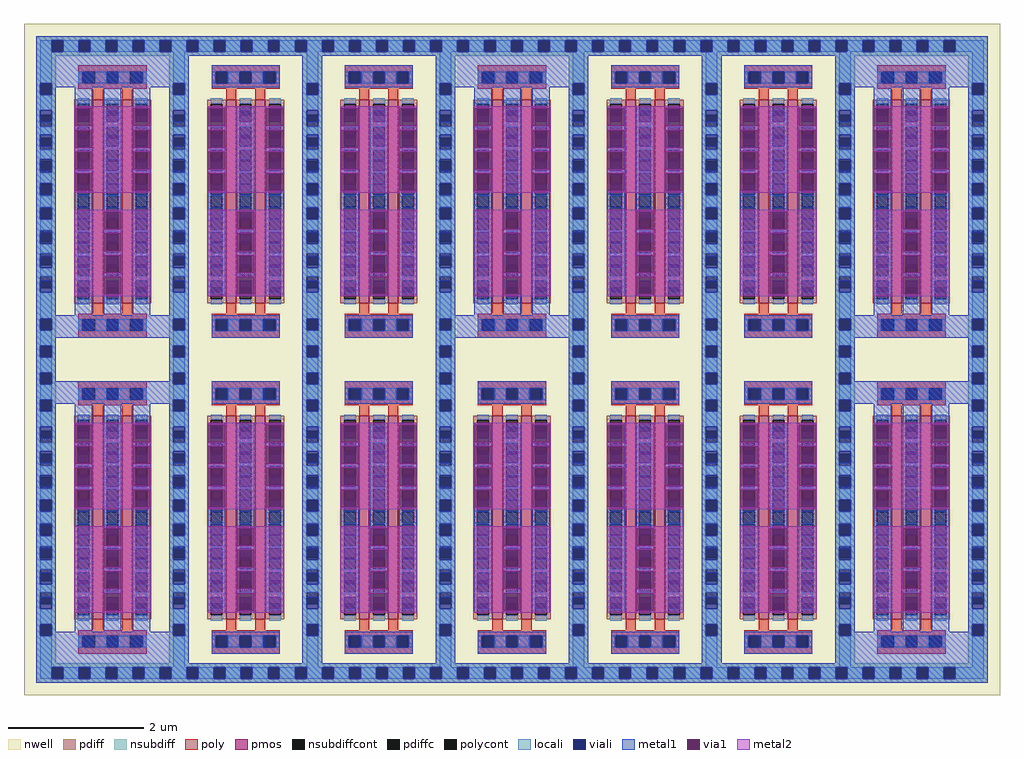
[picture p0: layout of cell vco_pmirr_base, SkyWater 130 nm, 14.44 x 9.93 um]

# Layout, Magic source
magic
tech sky130B
<< nwell >>
rect 65 23 1509 464
rect 65 6 89 23
rect 106 6 286 23
rect 303 6 483 23
rect 500 6 680 23
rect 697 6 877 23
rect 894 6 1074 23
rect 1091 6 1271 23
rect 1288 6 1468 23
rect 1485 6 1509 23
rect 65 -529 1509 6
<< nsubdiff >>
rect 83 440 1491 446
rect 83 423 106 440
rect 123 423 146 440
rect 163 423 186 440
rect 203 423 226 440
rect 243 423 266 440
rect 283 423 306 440
rect 323 423 346 440
rect 363 423 386 440
rect 403 423 426 440
rect 443 423 466 440
rect 483 423 506 440
rect 523 423 546 440
rect 563 423 586 440
rect 603 423 626 440
rect 643 423 666 440
rect 683 423 706 440
rect 723 423 746 440
rect 763 423 786 440
rect 803 423 826 440
rect 843 423 866 440
rect 883 423 906 440
rect 923 423 946 440
rect 963 423 986 440
rect 1003 423 1026 440
rect 1043 423 1066 440
rect 1083 423 1106 440
rect 1123 423 1146 440
rect 1163 423 1186 440
rect 1203 423 1226 440
rect 1243 423 1266 440
rect 1283 423 1306 440
rect 1323 423 1346 440
rect 1363 423 1386 440
rect 1403 423 1426 440
rect 1443 423 1491 440
rect 83 417 1491 423
rect 83 376 112 417
rect 83 359 89 376
rect 106 359 112 376
rect 83 352 112 359
rect 280 376 309 417
rect 280 359 286 376
rect 303 359 309 376
rect 280 352 309 359
rect 477 376 506 417
rect 477 359 483 376
rect 500 359 506 376
rect 477 352 506 359
rect 674 376 703 417
rect 674 359 680 376
rect 697 359 703 376
rect 674 352 703 359
rect 871 376 900 417
rect 871 359 877 376
rect 894 359 900 376
rect 871 352 900 359
rect 1068 376 1097 417
rect 1068 359 1074 376
rect 1091 359 1097 376
rect 1068 352 1097 359
rect 1265 376 1294 417
rect 1265 359 1271 376
rect 1288 359 1294 376
rect 1265 352 1294 359
rect 1462 376 1491 417
rect 1462 359 1468 376
rect 1485 359 1491 376
rect 1462 352 1491 359
rect 83 28 112 51
rect 83 11 89 28
rect 106 11 112 28
rect 83 -12 112 11
rect 83 -29 89 -12
rect 106 -29 112 -12
rect 83 -52 112 -29
rect 83 -69 89 -52
rect 106 -69 112 -52
rect 83 -92 112 -69
rect 83 -109 89 -92
rect 106 -109 112 -92
rect 83 -116 112 -109
rect 280 28 309 51
rect 280 11 286 28
rect 303 11 309 28
rect 280 -12 309 11
rect 280 -29 286 -12
rect 303 -29 309 -12
rect 280 -52 309 -29
rect 280 -69 286 -52
rect 303 -69 309 -52
rect 280 -92 309 -69
rect 280 -109 286 -92
rect 303 -109 309 -92
rect 280 -116 309 -109
rect 477 28 506 51
rect 477 11 483 28
rect 500 11 506 28
rect 477 -12 506 11
rect 477 -29 483 -12
rect 500 -29 506 -12
rect 477 -52 506 -29
rect 477 -69 483 -52
rect 500 -69 506 -52
rect 477 -92 506 -69
rect 477 -109 483 -92
rect 500 -109 506 -92
rect 477 -116 506 -109
rect 674 28 703 51
rect 674 11 680 28
rect 697 11 703 28
rect 674 -12 703 11
rect 674 -29 680 -12
rect 697 -29 703 -12
rect 674 -52 703 -29
rect 674 -69 680 -52
rect 697 -69 703 -52
rect 674 -92 703 -69
rect 674 -109 680 -92
rect 697 -109 703 -92
rect 674 -116 703 -109
rect 871 28 900 51
rect 871 11 877 28
rect 894 11 900 28
rect 871 -12 900 11
rect 871 -29 877 -12
rect 894 -29 900 -12
rect 871 -52 900 -29
rect 871 -69 877 -52
rect 894 -69 900 -52
rect 871 -92 900 -69
rect 871 -109 877 -92
rect 894 -109 900 -92
rect 871 -116 900 -109
rect 1068 28 1097 51
rect 1068 11 1074 28
rect 1091 11 1097 28
rect 1068 -12 1097 11
rect 1068 -29 1074 -12
rect 1091 -29 1097 -12
rect 1068 -52 1097 -29
rect 1068 -69 1074 -52
rect 1091 -69 1097 -52
rect 1068 -92 1097 -69
rect 1068 -109 1074 -92
rect 1091 -109 1097 -92
rect 1068 -116 1097 -109
rect 1265 28 1294 51
rect 1265 11 1271 28
rect 1288 11 1294 28
rect 1265 -12 1294 11
rect 1265 -29 1271 -12
rect 1288 -29 1294 -12
rect 1265 -52 1294 -29
rect 1265 -69 1271 -52
rect 1288 -69 1294 -52
rect 1265 -92 1294 -69
rect 1265 -109 1271 -92
rect 1288 -109 1294 -92
rect 1265 -116 1294 -109
rect 1462 28 1491 51
rect 1462 11 1468 28
rect 1485 11 1491 28
rect 1462 -12 1491 11
rect 1462 -29 1468 -12
rect 1485 -29 1491 -12
rect 1462 -52 1491 -29
rect 1462 -69 1468 -52
rect 1485 -69 1491 -52
rect 1462 -92 1491 -69
rect 1462 -109 1468 -92
rect 1485 -109 1491 -92
rect 1462 -116 1491 -109
rect 83 -424 112 -417
rect 83 -441 89 -424
rect 106 -441 112 -424
rect 83 -482 112 -441
rect 280 -424 309 -417
rect 280 -441 286 -424
rect 303 -441 309 -424
rect 280 -482 309 -441
rect 477 -424 506 -417
rect 477 -441 483 -424
rect 500 -441 506 -424
rect 477 -482 506 -441
rect 674 -424 703 -417
rect 674 -441 680 -424
rect 697 -441 703 -424
rect 674 -482 703 -441
rect 871 -424 900 -417
rect 871 -441 877 -424
rect 894 -441 900 -424
rect 871 -482 900 -441
rect 1068 -424 1097 -417
rect 1068 -441 1074 -424
rect 1091 -441 1097 -424
rect 1068 -482 1097 -441
rect 1265 -424 1294 -417
rect 1265 -441 1271 -424
rect 1288 -441 1294 -424
rect 1265 -482 1294 -441
rect 1462 -424 1491 -417
rect 1462 -441 1468 -424
rect 1485 -441 1491 -424
rect 1462 -482 1491 -441
rect 83 -488 1491 -482
rect 83 -505 106 -488
rect 123 -505 146 -488
rect 163 -505 186 -488
rect 203 -505 226 -488
rect 243 -505 266 -488
rect 283 -505 306 -488
rect 323 -505 346 -488
rect 363 -505 386 -488
rect 403 -505 426 -488
rect 443 -505 466 -488
rect 483 -505 506 -488
rect 523 -505 546 -488
rect 563 -505 586 -488
rect 603 -505 626 -488
rect 643 -505 666 -488
rect 683 -505 706 -488
rect 723 -505 746 -488
rect 763 -505 786 -488
rect 803 -505 826 -488
rect 843 -505 866 -488
rect 883 -505 906 -488
rect 923 -505 946 -488
rect 963 -505 986 -488
rect 1003 -505 1026 -488
rect 1043 -505 1066 -488
rect 1083 -505 1106 -488
rect 1123 -505 1146 -488
rect 1163 -505 1186 -488
rect 1203 -505 1226 -488
rect 1243 -505 1266 -488
rect 1283 -505 1306 -488
rect 1323 -505 1346 -488
rect 1363 -505 1386 -488
rect 1403 -505 1426 -488
rect 1443 -505 1491 -488
rect 83 -511 1491 -505
<< nsubdiffcont >>
rect 106 423 123 440
rect 146 423 163 440
rect 186 423 203 440
rect 226 423 243 440
rect 266 423 283 440
rect 306 423 323 440
rect 346 423 363 440
rect 386 423 403 440
rect 426 423 443 440
rect 466 423 483 440
rect 506 423 523 440
rect 546 423 563 440
rect 586 423 603 440
rect 626 423 643 440
rect 666 423 683 440
rect 706 423 723 440
rect 746 423 763 440
rect 786 423 803 440
rect 826 423 843 440
rect 866 423 883 440
rect 906 423 923 440
rect 946 423 963 440
rect 986 423 1003 440
rect 1026 423 1043 440
rect 1066 423 1083 440
rect 1106 423 1123 440
rect 1146 423 1163 440
rect 1186 423 1203 440
rect 1226 423 1243 440
rect 1266 423 1283 440
rect 1306 423 1323 440
rect 1346 423 1363 440
rect 1386 423 1403 440
rect 1426 423 1443 440
rect 89 359 106 376
rect 286 359 303 376
rect 483 359 500 376
rect 680 359 697 376
rect 877 359 894 376
rect 1074 359 1091 376
rect 1271 359 1288 376
rect 1468 359 1485 376
rect 89 11 106 28
rect 89 -29 106 -12
rect 89 -69 106 -52
rect 89 -109 106 -92
rect 286 11 303 28
rect 286 -29 303 -12
rect 286 -69 303 -52
rect 286 -109 303 -92
rect 483 11 500 28
rect 483 -29 500 -12
rect 483 -69 500 -52
rect 483 -109 500 -92
rect 680 11 697 28
rect 680 -29 697 -12
rect 680 -69 697 -52
rect 680 -109 697 -92
rect 877 11 894 28
rect 877 -29 894 -12
rect 877 -69 894 -52
rect 877 -109 894 -92
rect 1074 11 1091 28
rect 1074 -29 1091 -12
rect 1074 -69 1091 -52
rect 1074 -109 1091 -92
rect 1271 11 1288 28
rect 1271 -29 1288 -12
rect 1271 -69 1288 -52
rect 1271 -109 1288 -92
rect 1468 11 1485 28
rect 1468 -29 1485 -12
rect 1468 -69 1485 -52
rect 1468 -109 1485 -92
rect 89 -441 106 -424
rect 286 -441 303 -424
rect 483 -441 500 -424
rect 680 -441 697 -424
rect 877 -441 894 -424
rect 1074 -441 1091 -424
rect 1271 -441 1288 -424
rect 1468 -441 1485 -424
rect 106 -505 123 -488
rect 146 -505 163 -488
rect 186 -505 203 -488
rect 226 -505 243 -488
rect 266 -505 283 -488
rect 306 -505 323 -488
rect 346 -505 363 -488
rect 386 -505 403 -488
rect 426 -505 443 -488
rect 466 -505 483 -488
rect 506 -505 523 -488
rect 546 -505 563 -488
rect 586 -505 603 -488
rect 626 -505 643 -488
rect 666 -505 683 -488
rect 706 -505 723 -488
rect 746 -505 763 -488
rect 786 -505 803 -488
rect 826 -505 843 -488
rect 866 -505 883 -488
rect 906 -505 923 -488
rect 946 -505 963 -488
rect 986 -505 1003 -488
rect 1026 -505 1043 -488
rect 1066 -505 1083 -488
rect 1106 -505 1123 -488
rect 1146 -505 1163 -488
rect 1186 -505 1203 -488
rect 1226 -505 1243 -488
rect 1266 -505 1283 -488
rect 1306 -505 1323 -488
rect 1346 -505 1363 -488
rect 1386 -505 1403 -488
rect 1426 -505 1443 -488
<< locali >>
rect 89 376 106 440
rect 123 423 146 440
rect 163 423 186 440
rect 203 423 226 440
rect 243 423 266 440
rect 283 423 306 440
rect 323 423 346 440
rect 363 423 386 440
rect 403 423 426 440
rect 443 423 466 440
rect 483 423 506 440
rect 523 423 546 440
rect 563 423 586 440
rect 603 423 626 440
rect 643 423 666 440
rect 683 423 706 440
rect 723 423 746 440
rect 763 423 786 440
rect 803 423 826 440
rect 843 423 866 440
rect 883 423 906 440
rect 923 423 946 440
rect 963 423 986 440
rect 1003 423 1026 440
rect 1043 423 1066 440
rect 1083 423 1106 440
rect 1123 423 1146 440
rect 1163 423 1186 440
rect 1203 423 1226 440
rect 1243 423 1266 440
rect 1283 423 1306 440
rect 1323 423 1346 440
rect 1363 423 1386 440
rect 1403 423 1426 440
rect 1443 423 1485 440
rect 89 337 106 359
rect 286 376 303 423
rect 286 337 303 359
rect 483 376 500 423
rect 483 337 500 359
rect 680 376 697 423
rect 680 337 697 359
rect 877 376 894 423
rect 877 337 894 359
rect 1074 376 1091 423
rect 1074 337 1091 359
rect 1271 376 1288 423
rect 1271 337 1288 359
rect 1468 376 1485 423
rect 1468 337 1485 359
rect 89 28 106 66
rect 89 -12 106 11
rect 89 -52 106 -29
rect 89 -92 106 -69
rect 89 -131 106 -109
rect 286 28 303 66
rect 286 -12 303 11
rect 286 -52 303 -29
rect 286 -92 303 -69
rect 286 -131 303 -109
rect 483 28 500 66
rect 483 -12 500 11
rect 483 -52 500 -29
rect 483 -92 500 -69
rect 483 -131 500 -109
rect 680 28 697 66
rect 680 -12 697 11
rect 680 -52 697 -29
rect 680 -92 697 -69
rect 680 -131 697 -109
rect 877 28 894 66
rect 877 -12 894 11
rect 877 -52 894 -29
rect 877 -92 894 -69
rect 877 -131 894 -109
rect 1074 28 1091 66
rect 1074 -12 1091 11
rect 1074 -52 1091 -29
rect 1074 -92 1091 -69
rect 1074 -131 1091 -109
rect 1271 28 1288 66
rect 1271 -12 1288 11
rect 1271 -52 1288 -29
rect 1271 -92 1288 -69
rect 1271 -131 1288 -109
rect 1468 28 1485 66
rect 1468 -12 1485 11
rect 1468 -52 1485 -29
rect 1468 -92 1485 -69
rect 1468 -131 1485 -109
rect 89 -424 106 -402
rect 89 -505 106 -441
rect 286 -424 303 -402
rect 286 -488 303 -441
rect 483 -424 500 -402
rect 483 -488 500 -441
rect 680 -424 697 -402
rect 680 -488 697 -441
rect 877 -424 894 -402
rect 877 -488 894 -441
rect 1074 -424 1091 -402
rect 1074 -488 1091 -441
rect 1271 -424 1288 -402
rect 1271 -488 1288 -441
rect 1468 -424 1485 -402
rect 1468 -488 1485 -441
rect 123 -505 146 -488
rect 163 -505 186 -488
rect 203 -505 226 -488
rect 243 -505 266 -488
rect 283 -505 306 -488
rect 323 -505 346 -488
rect 363 -505 386 -488
rect 403 -505 426 -488
rect 443 -505 466 -488
rect 483 -505 506 -488
rect 523 -505 546 -488
rect 563 -505 586 -488
rect 603 -505 626 -488
rect 643 -505 666 -488
rect 683 -505 706 -488
rect 723 -505 746 -488
rect 763 -505 786 -488
rect 803 -505 826 -488
rect 843 -505 866 -488
rect 883 -505 906 -488
rect 923 -505 946 -488
rect 963 -505 986 -488
rect 1003 -505 1026 -488
rect 1043 -505 1066 -488
rect 1083 -505 1106 -488
rect 1123 -505 1146 -488
rect 1163 -505 1186 -488
rect 1203 -505 1226 -488
rect 1243 -505 1266 -488
rect 1283 -505 1306 -488
rect 1323 -505 1346 -488
rect 1363 -505 1386 -488
rect 1403 -505 1426 -488
rect 1443 -505 1485 -488
<< viali >>
rect 106 423 123 440
rect 146 423 163 440
rect 186 423 203 440
rect 226 423 243 440
rect 266 423 283 440
rect 306 423 323 440
rect 346 423 363 440
rect 386 423 403 440
rect 426 423 443 440
rect 466 423 483 440
rect 506 423 523 440
rect 546 423 563 440
rect 586 423 603 440
rect 626 423 643 440
rect 666 423 683 440
rect 706 423 723 440
rect 746 423 763 440
rect 786 423 803 440
rect 826 423 843 440
rect 866 423 883 440
rect 906 423 923 440
rect 946 423 963 440
rect 986 423 1003 440
rect 1026 423 1043 440
rect 1066 423 1083 440
rect 1106 423 1123 440
rect 1146 423 1163 440
rect 1186 423 1203 440
rect 1226 423 1243 440
rect 1266 423 1283 440
rect 1306 423 1323 440
rect 1346 423 1363 440
rect 1386 423 1403 440
rect 1426 423 1443 440
rect 89 359 106 376
rect 286 359 303 376
rect 483 359 500 376
rect 680 359 697 376
rect 877 359 894 376
rect 1074 359 1091 376
rect 1271 359 1288 376
rect 1468 359 1485 376
rect 89 11 106 28
rect 89 -29 106 -12
rect 89 -69 106 -52
rect 89 -109 106 -92
rect 286 11 303 28
rect 286 -29 303 -12
rect 286 -69 303 -52
rect 286 -109 303 -92
rect 483 11 500 28
rect 483 -29 500 -12
rect 483 -69 500 -52
rect 483 -109 500 -92
rect 680 11 697 28
rect 680 -29 697 -12
rect 680 -69 697 -52
rect 680 -109 697 -92
rect 877 11 894 28
rect 877 -29 894 -12
rect 877 -69 894 -52
rect 877 -109 894 -92
rect 1074 11 1091 28
rect 1074 -29 1091 -12
rect 1074 -69 1091 -52
rect 1074 -109 1091 -92
rect 1271 11 1288 28
rect 1271 -29 1288 -12
rect 1271 -69 1288 -52
rect 1271 -109 1288 -92
rect 1468 11 1485 28
rect 1468 -29 1485 -12
rect 1468 -69 1485 -52
rect 1468 -109 1485 -92
rect 89 -441 106 -424
rect 286 -441 303 -424
rect 483 -441 500 -424
rect 680 -441 697 -424
rect 877 -441 894 -424
rect 1074 -441 1091 -424
rect 1271 -441 1288 -424
rect 1468 -441 1485 -424
rect 106 -505 123 -488
rect 146 -505 163 -488
rect 186 -505 203 -488
rect 226 -505 243 -488
rect 266 -505 283 -488
rect 306 -505 323 -488
rect 346 -505 363 -488
rect 386 -505 403 -488
rect 426 -505 443 -488
rect 466 -505 483 -488
rect 506 -505 523 -488
rect 546 -505 563 -488
rect 586 -505 603 -488
rect 626 -505 643 -488
rect 666 -505 683 -488
rect 706 -505 723 -488
rect 746 -505 763 -488
rect 786 -505 803 -488
rect 826 -505 843 -488
rect 866 -505 883 -488
rect 906 -505 923 -488
rect 946 -505 963 -488
rect 986 -505 1003 -488
rect 1026 -505 1043 -488
rect 1066 -505 1083 -488
rect 1106 -505 1123 -488
rect 1146 -505 1163 -488
rect 1186 -505 1203 -488
rect 1226 -505 1243 -488
rect 1266 -505 1283 -488
rect 1306 -505 1323 -488
rect 1346 -505 1363 -488
rect 1386 -505 1403 -488
rect 1426 -505 1443 -488
<< metal1 >>
rect 83 440 1491 446
rect 83 423 106 440
rect 123 423 146 440
rect 163 423 186 440
rect 203 423 226 440
rect 243 423 266 440
rect 283 423 306 440
rect 323 423 346 440
rect 363 423 386 440
rect 403 423 426 440
rect 443 423 466 440
rect 483 423 506 440
rect 523 423 546 440
rect 563 423 586 440
rect 603 423 626 440
rect 643 423 666 440
rect 683 423 706 440
rect 723 423 746 440
rect 763 423 786 440
rect 803 423 826 440
rect 843 423 866 440
rect 883 423 906 440
rect 923 423 946 440
rect 963 423 986 440
rect 1003 423 1026 440
rect 1043 423 1066 440
rect 1083 423 1106 440
rect 1123 423 1146 440
rect 1163 423 1186 440
rect 1203 423 1226 440
rect 1243 423 1266 440
rect 1283 423 1306 440
rect 1323 423 1346 440
rect 1363 423 1386 440
rect 1403 423 1426 440
rect 1443 423 1491 440
rect 83 417 1491 423
rect 83 376 309 417
rect 83 359 89 376
rect 106 370 286 376
rect 106 359 112 370
rect 83 342 112 359
rect 140 342 166 370
rect 183 342 209 370
rect 226 342 252 370
rect 280 359 286 370
rect 303 359 309 376
rect 280 342 309 359
rect 477 376 506 417
rect 477 359 483 376
rect 500 359 506 376
rect 477 342 506 359
rect 674 376 900 417
rect 674 359 680 376
rect 697 370 877 376
rect 697 359 703 370
rect 674 342 703 359
rect 731 342 757 370
rect 774 342 800 370
rect 817 342 843 370
rect 871 359 877 370
rect 894 359 900 376
rect 871 342 900 359
rect 1068 376 1097 417
rect 1068 359 1074 376
rect 1091 359 1097 376
rect 1068 342 1097 359
rect 1265 376 1491 417
rect 1265 359 1271 376
rect 1288 370 1468 376
rect 1288 359 1294 370
rect 1265 342 1294 359
rect 1322 342 1348 370
rect 1365 342 1391 370
rect 1408 342 1434 370
rect 1462 359 1468 370
rect 1485 359 1491 376
rect 1462 342 1491 359
rect 83 33 112 61
rect 140 33 166 61
rect 183 33 209 61
rect 226 33 252 61
rect 280 33 309 61
rect 83 28 309 33
rect 83 11 89 28
rect 106 11 286 28
rect 303 11 309 28
rect 83 0 309 11
rect 83 -12 112 0
rect 83 -29 89 -12
rect 106 -29 112 -12
rect 83 -52 112 -29
rect 83 -69 89 -52
rect 106 -65 112 -52
rect 280 -12 309 0
rect 280 -29 286 -12
rect 303 -29 309 -12
rect 280 -52 309 -29
rect 280 -65 286 -52
rect 106 -69 286 -65
rect 303 -69 309 -52
rect 83 -92 309 -69
rect 83 -109 89 -92
rect 106 -98 286 -92
rect 106 -109 112 -98
rect 83 -126 112 -109
rect 140 -126 166 -98
rect 183 -126 209 -98
rect 226 -126 252 -98
rect 280 -109 286 -98
rect 303 -109 309 -92
rect 280 -126 309 -109
rect 477 28 506 61
rect 477 11 483 28
rect 500 11 506 28
rect 477 -12 506 11
rect 477 -29 483 -12
rect 500 -29 506 -12
rect 477 -52 506 -29
rect 477 -69 483 -52
rect 500 -69 506 -52
rect 477 -92 506 -69
rect 477 -109 483 -92
rect 500 -109 506 -92
rect 477 -126 506 -109
rect 674 33 703 61
rect 731 33 757 61
rect 774 33 800 61
rect 817 33 843 61
rect 871 33 900 61
rect 674 28 900 33
rect 674 11 680 28
rect 697 11 877 28
rect 894 11 900 28
rect 674 0 900 11
rect 674 -12 703 0
rect 674 -29 680 -12
rect 697 -29 703 -12
rect 674 -52 703 -29
rect 674 -69 680 -52
rect 697 -69 703 -52
rect 674 -92 703 -69
rect 674 -109 680 -92
rect 697 -109 703 -92
rect 674 -126 703 -109
rect 871 -12 900 0
rect 871 -29 877 -12
rect 894 -29 900 -12
rect 871 -52 900 -29
rect 871 -69 877 -52
rect 894 -69 900 -52
rect 871 -92 900 -69
rect 871 -109 877 -92
rect 894 -109 900 -92
rect 871 -126 900 -109
rect 1068 28 1097 61
rect 1068 11 1074 28
rect 1091 11 1097 28
rect 1068 -12 1097 11
rect 1068 -29 1074 -12
rect 1091 -29 1097 -12
rect 1068 -52 1097 -29
rect 1068 -69 1074 -52
rect 1091 -69 1097 -52
rect 1068 -92 1097 -69
rect 1068 -109 1074 -92
rect 1091 -109 1097 -92
rect 1068 -126 1097 -109
rect 1265 33 1294 61
rect 1322 33 1348 61
rect 1365 33 1391 61
rect 1408 33 1434 61
rect 1462 33 1491 61
rect 1265 28 1364 33
rect 1265 11 1271 28
rect 1288 11 1364 28
rect 1265 0 1364 11
rect 1365 0 1407 33
rect 1408 28 1491 33
rect 1408 11 1468 28
rect 1485 11 1491 28
rect 1408 0 1491 11
rect 1265 -12 1294 0
rect 1265 -29 1271 -12
rect 1288 -29 1294 -12
rect 1265 -52 1294 -29
rect 1265 -69 1271 -52
rect 1288 -65 1294 -52
rect 1462 -12 1491 0
rect 1462 -29 1468 -12
rect 1485 -29 1491 -12
rect 1462 -52 1491 -29
rect 1462 -65 1468 -52
rect 1288 -69 1468 -65
rect 1485 -69 1491 -52
rect 1265 -92 1491 -69
rect 1265 -109 1271 -92
rect 1288 -98 1468 -92
rect 1288 -109 1294 -98
rect 1265 -126 1294 -109
rect 1322 -126 1348 -98
rect 1365 -126 1391 -98
rect 1408 -126 1434 -98
rect 1462 -109 1468 -98
rect 1485 -109 1491 -92
rect 1462 -126 1491 -109
rect 83 -424 112 -407
rect 83 -441 89 -424
rect 106 -435 112 -424
rect 140 -435 166 -407
rect 183 -435 209 -407
rect 226 -435 252 -407
rect 280 -424 309 -407
rect 280 -435 286 -424
rect 106 -441 286 -435
rect 303 -441 309 -424
rect 83 -482 309 -441
rect 477 -424 506 -407
rect 477 -441 483 -424
rect 500 -441 506 -424
rect 477 -482 506 -441
rect 674 -424 703 -407
rect 674 -441 680 -424
rect 697 -441 703 -424
rect 674 -482 703 -441
rect 871 -424 900 -407
rect 871 -441 877 -424
rect 894 -441 900 -424
rect 871 -482 900 -441
rect 1068 -424 1097 -407
rect 1068 -441 1074 -424
rect 1091 -441 1097 -424
rect 1068 -482 1097 -441
rect 1265 -424 1294 -407
rect 1265 -441 1271 -424
rect 1288 -435 1294 -424
rect 1322 -435 1348 -407
rect 1365 -435 1391 -407
rect 1408 -435 1434 -407
rect 1462 -424 1491 -407
rect 1462 -435 1468 -424
rect 1288 -441 1468 -435
rect 1485 -441 1491 -424
rect 1265 -482 1491 -441
rect 83 -488 1491 -482
rect 83 -505 106 -488
rect 123 -505 146 -488
rect 163 -505 186 -488
rect 203 -505 226 -488
rect 243 -505 266 -488
rect 283 -505 306 -488
rect 323 -505 346 -488
rect 363 -505 386 -488
rect 403 -505 426 -488
rect 443 -505 466 -488
rect 483 -505 506 -488
rect 523 -505 546 -488
rect 563 -505 586 -488
rect 603 -505 626 -488
rect 643 -505 666 -488
rect 683 -505 706 -488
rect 723 -505 746 -488
rect 763 -505 786 -488
rect 803 -505 826 -488
rect 843 -505 866 -488
rect 883 -505 906 -488
rect 923 -505 946 -488
rect 963 -505 986 -488
rect 1003 -505 1026 -488
rect 1043 -505 1066 -488
rect 1083 -505 1106 -488
rect 1123 -505 1146 -488
rect 1163 -505 1186 -488
rect 1203 -505 1226 -488
rect 1243 -505 1266 -488
rect 1283 -505 1306 -488
rect 1323 -505 1346 -488
rect 1363 -505 1386 -488
rect 1403 -505 1426 -488
rect 1443 -505 1491 -488
rect 83 -511 1491 -505
use rf_pfet_01v8_aM02W3p00L0p15  rf_pfet_01v8_aM02W3p00L0p15_0
transform 1 0 65 0 1 0
box 0 0 262 403
use rf_pfet_01v8_aM02W3p00L0p15  rf_pfet_01v8_aM02W3p00L0p15_1
transform 1 0 262 0 1 0
box 0 0 262 403
use rf_pfet_01v8_aM02W3p00L0p15  rf_pfet_01v8_aM02W3p00L0p15_2
transform 1 0 459 0 1 0
box 0 0 262 403
use rf_pfet_01v8_aM02W3p00L0p15  rf_pfet_01v8_aM02W3p00L0p15_3
transform 1 0 656 0 1 0
box 0 0 262 403
use rf_pfet_01v8_aM02W3p00L0p15  rf_pfet_01v8_aM02W3p00L0p15_4
transform 1 0 853 0 1 0
box 0 0 262 403
use rf_pfet_01v8_aM02W3p00L0p15  rf_pfet_01v8_aM02W3p00L0p15_5
transform 1 0 1050 0 1 0
box 0 0 262 403
use rf_pfet_01v8_aM02W3p00L0p15  rf_pfet_01v8_aM02W3p00L0p15_6
transform 1 0 1247 0 1 0
box 0 0 262 403
use rf_pfet_01v8_aM02W3p00L0p15  rf_pfet_01v8_aM02W3p00L0p15_7
transform 1 0 65 0 1 -468
box 0 0 262 403
use rf_pfet_01v8_aM02W3p00L0p15  rf_pfet_01v8_aM02W3p00L0p15_8
transform 1 0 262 0 1 -468
box 0 0 262 403
use rf_pfet_01v8_aM02W3p00L0p15  rf_pfet_01v8_aM02W3p00L0p15_9
transform 1 0 459 0 1 -468
box 0 0 262 403
use rf_pfet_01v8_aM02W3p00L0p15  rf_pfet_01v8_aM02W3p00L0p15_10
transform 1 0 656 0 1 -468
box 0 0 262 403
use rf_pfet_01v8_aM02W3p00L0p15  rf_pfet_01v8_aM02W3p00L0p15_11
transform 1 0 853 0 1 -468
box 0 0 262 403
use rf_pfet_01v8_aM02W3p00L0p15  rf_pfet_01v8_aM02W3p00L0p15_12
transform 1 0 1050 0 1 -468
box 0 0 262 403
use rf_pfet_01v8_aM02W3p00L0p15  rf_pfet_01v8_aM02W3p00L0p15_13
transform 1 0 1247 0 1 -468
box 0 0 262 403
<< end >>

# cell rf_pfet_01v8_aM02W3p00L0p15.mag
magic
tech sky130B
magscale 1 2
<< nwell >>
rect 0 0 524 806
<< pmos >>
rect 204 102 234 704
rect 290 102 320 704
<< pdiff >>
rect 148 692 204 704
rect 148 658 159 692
rect 193 658 204 692
rect 148 624 204 658
rect 148 590 159 624
rect 193 590 204 624
rect 148 556 204 590
rect 148 522 159 556
rect 193 522 204 556
rect 148 488 204 522
rect 148 454 159 488
rect 193 454 204 488
rect 148 420 204 454
rect 148 386 159 420
rect 193 386 204 420
rect 148 352 204 386
rect 148 318 159 352
rect 193 318 204 352
rect 148 284 204 318
rect 148 250 159 284
rect 193 250 204 284
rect 148 216 204 250
rect 148 182 159 216
rect 193 182 204 216
rect 148 148 204 182
rect 148 114 159 148
rect 193 114 204 148
rect 148 102 204 114
rect 234 692 290 704
rect 234 658 245 692
rect 279 658 290 692
rect 234 624 290 658
rect 234 590 245 624
rect 279 590 290 624
rect 234 556 290 590
rect 234 522 245 556
rect 279 522 290 556
rect 234 488 290 522
rect 234 454 245 488
rect 279 454 290 488
rect 234 420 290 454
rect 234 386 245 420
rect 279 386 290 420
rect 234 352 290 386
rect 234 318 245 352
rect 279 318 290 352
rect 234 284 290 318
rect 234 250 245 284
rect 279 250 290 284
rect 234 216 290 250
rect 234 182 245 216
rect 279 182 290 216
rect 234 148 290 182
rect 234 114 245 148
rect 279 114 290 148
rect 234 102 290 114
rect 320 692 376 704
rect 320 658 331 692
rect 365 658 376 692
rect 320 624 376 658
rect 320 590 331 624
rect 365 590 376 624
rect 320 556 376 590
rect 320 522 331 556
rect 365 522 376 556
rect 320 488 376 522
rect 320 454 331 488
rect 365 454 376 488
rect 320 420 376 454
rect 320 386 331 420
rect 365 386 376 420
rect 320 352 376 386
rect 320 318 331 352
rect 365 318 376 352
rect 320 284 376 318
rect 320 250 331 284
rect 365 250 376 284
rect 320 216 376 250
rect 320 182 331 216
rect 365 182 376 216
rect 320 148 376 182
rect 320 114 331 148
rect 365 114 376 148
rect 320 102 376 114
<< pdiffc >>
rect 159 658 193 692
rect 159 590 193 624
rect 159 522 193 556
rect 159 454 193 488
rect 159 386 193 420
rect 159 318 193 352
rect 159 250 193 284
rect 159 182 193 216
rect 159 114 193 148
rect 245 658 279 692
rect 245 590 279 624
rect 245 522 279 556
rect 245 454 279 488
rect 245 386 279 420
rect 245 318 279 352
rect 245 250 279 284
rect 245 182 279 216
rect 245 114 279 148
rect 331 658 365 692
rect 331 590 365 624
rect 331 522 365 556
rect 331 454 365 488
rect 331 386 365 420
rect 331 318 365 352
rect 331 250 365 284
rect 331 182 365 216
rect 331 114 365 148
<< nsubdiff >>
rect 36 658 94 704
rect 36 624 48 658
rect 82 624 94 658
rect 36 590 94 624
rect 36 556 48 590
rect 82 556 94 590
rect 36 522 94 556
rect 36 488 48 522
rect 82 488 94 522
rect 36 454 94 488
rect 36 420 48 454
rect 82 420 94 454
rect 36 386 94 420
rect 36 352 48 386
rect 82 352 94 386
rect 36 318 94 352
rect 36 284 48 318
rect 82 284 94 318
rect 36 250 94 284
rect 36 216 48 250
rect 82 216 94 250
rect 36 182 94 216
rect 36 148 48 182
rect 82 148 94 182
rect 36 102 94 148
rect 430 658 488 704
rect 430 624 442 658
rect 476 624 488 658
rect 430 590 488 624
rect 430 556 442 590
rect 476 556 488 590
rect 430 522 488 556
rect 430 488 442 522
rect 476 488 488 522
rect 430 454 488 488
rect 430 420 442 454
rect 476 420 488 454
rect 430 386 488 420
rect 430 352 442 386
rect 476 352 488 386
rect 430 318 488 352
rect 430 284 442 318
rect 476 284 488 318
rect 430 250 488 284
rect 430 216 442 250
rect 476 216 488 250
rect 430 182 488 216
rect 430 148 442 182
rect 476 148 488 182
rect 430 102 488 148
<< nsubdiffcont >>
rect 48 624 82 658
rect 48 556 82 590
rect 48 488 82 522
rect 48 420 82 454
rect 48 352 82 386
rect 48 284 82 318
rect 48 216 82 250
rect 48 148 82 182
rect 442 624 476 658
rect 442 556 476 590
rect 442 488 476 522
rect 442 420 476 454
rect 442 352 476 386
rect 442 284 476 318
rect 442 216 476 250
rect 442 148 476 182
<< poly >>
rect 161 786 363 806
rect 161 752 177 786
rect 211 752 245 786
rect 279 752 313 786
rect 347 752 363 786
rect 161 736 363 752
rect 204 704 234 736
rect 290 704 320 736
rect 204 70 234 102
rect 290 70 320 102
rect 161 54 363 70
rect 161 20 177 54
rect 211 20 245 54
rect 279 20 313 54
rect 347 20 363 54
rect 161 0 363 20
<< polycont >>
rect 177 752 211 786
rect 245 752 279 786
rect 313 752 347 786
rect 177 20 211 54
rect 245 20 279 54
rect 313 20 347 54
<< locali >>
rect 161 752 173 786
rect 211 752 245 786
rect 279 752 313 786
rect 351 752 363 786
rect 159 692 193 708
rect 48 672 82 674
rect 48 600 82 624
rect 48 528 82 556
rect 48 456 82 488
rect 48 386 82 420
rect 48 318 82 350
rect 48 250 82 278
rect 48 182 82 206
rect 48 132 82 134
rect 159 624 193 638
rect 159 556 193 566
rect 159 488 193 494
rect 159 420 193 422
rect 159 384 193 386
rect 159 312 193 318
rect 159 240 193 250
rect 159 168 193 182
rect 159 98 193 114
rect 245 692 279 708
rect 245 624 279 638
rect 245 556 279 566
rect 245 488 279 494
rect 245 420 279 422
rect 245 384 279 386
rect 245 312 279 318
rect 245 240 279 250
rect 245 168 279 182
rect 245 98 279 114
rect 331 692 365 708
rect 331 624 365 638
rect 331 556 365 566
rect 331 488 365 494
rect 331 420 365 422
rect 331 384 365 386
rect 331 312 365 318
rect 331 240 365 250
rect 331 168 365 182
rect 442 672 476 674
rect 442 600 476 624
rect 442 528 476 556
rect 442 456 476 488
rect 442 386 476 420
rect 442 318 476 350
rect 442 250 476 278
rect 442 182 476 206
rect 442 132 476 134
rect 331 98 365 114
rect 161 20 173 54
rect 211 20 245 54
rect 279 20 313 54
rect 351 20 363 54
<< viali >>
rect 173 752 177 786
rect 177 752 207 786
rect 245 752 279 786
rect 317 752 347 786
rect 347 752 351 786
rect 48 658 82 672
rect 48 638 82 658
rect 48 590 82 600
rect 48 566 82 590
rect 48 522 82 528
rect 48 494 82 522
rect 48 454 82 456
rect 48 422 82 454
rect 48 352 82 384
rect 48 350 82 352
rect 48 284 82 312
rect 48 278 82 284
rect 48 216 82 240
rect 48 206 82 216
rect 48 148 82 168
rect 48 134 82 148
rect 159 658 193 672
rect 159 638 193 658
rect 159 590 193 600
rect 159 566 193 590
rect 159 522 193 528
rect 159 494 193 522
rect 159 454 193 456
rect 159 422 193 454
rect 159 352 193 384
rect 159 350 193 352
rect 159 284 193 312
rect 159 278 193 284
rect 159 216 193 240
rect 159 206 193 216
rect 159 148 193 168
rect 159 134 193 148
rect 245 658 279 672
rect 245 638 279 658
rect 245 590 279 600
rect 245 566 279 590
rect 245 522 279 528
rect 245 494 279 522
rect 245 454 279 456
rect 245 422 279 454
rect 245 352 279 384
rect 245 350 279 352
rect 245 284 279 312
rect 245 278 279 284
rect 245 216 279 240
rect 245 206 279 216
rect 245 148 279 168
rect 245 134 279 148
rect 331 658 365 672
rect 331 638 365 658
rect 331 590 365 600
rect 331 566 365 590
rect 331 522 365 528
rect 331 494 365 522
rect 331 454 365 456
rect 331 422 365 454
rect 331 352 365 384
rect 331 350 365 352
rect 331 284 365 312
rect 331 278 365 284
rect 331 216 365 240
rect 331 206 365 216
rect 331 148 365 168
rect 331 134 365 148
rect 442 658 476 672
rect 442 638 476 658
rect 442 590 476 600
rect 442 566 476 590
rect 442 522 476 528
rect 442 494 476 522
rect 442 454 476 456
rect 442 422 476 454
rect 442 352 476 384
rect 442 350 476 352
rect 442 284 476 312
rect 442 278 476 284
rect 442 216 476 240
rect 442 206 476 216
rect 442 148 476 168
rect 442 134 476 148
rect 173 20 177 54
rect 177 20 207 54
rect 245 20 279 54
rect 317 20 347 54
rect 347 20 351 54
<< metal1 >>
rect 161 786 363 806
rect 161 752 173 786
rect 207 752 245 786
rect 279 752 317 786
rect 351 752 363 786
rect 161 740 363 752
rect 36 672 94 684
rect 36 638 48 672
rect 82 638 94 672
rect 36 600 94 638
rect 36 566 48 600
rect 82 566 94 600
rect 36 528 94 566
rect 36 494 48 528
rect 82 494 94 528
rect 36 456 94 494
rect 36 422 48 456
rect 82 422 94 456
rect 36 384 94 422
rect 36 350 48 384
rect 82 350 94 384
rect 36 312 94 350
rect 36 278 48 312
rect 82 278 94 312
rect 36 240 94 278
rect 36 206 48 240
rect 82 206 94 240
rect 36 168 94 206
rect 36 134 48 168
rect 82 134 94 168
rect 36 122 94 134
rect 150 678 202 684
rect 150 614 202 626
rect 150 550 202 562
rect 150 494 159 498
rect 193 494 202 498
rect 150 486 202 494
rect 150 422 159 434
rect 193 422 202 434
rect 150 384 202 422
rect 150 350 159 384
rect 193 350 202 384
rect 150 312 202 350
rect 150 278 159 312
rect 193 278 202 312
rect 150 240 202 278
rect 150 206 159 240
rect 193 206 202 240
rect 150 168 202 206
rect 150 134 159 168
rect 193 134 202 168
rect 150 122 202 134
rect 236 672 288 684
rect 236 638 245 672
rect 279 638 288 672
rect 236 600 288 638
rect 236 566 245 600
rect 279 566 288 600
rect 236 528 288 566
rect 236 494 245 528
rect 279 494 288 528
rect 236 456 288 494
rect 236 422 245 456
rect 279 422 288 456
rect 236 384 288 422
rect 236 372 245 384
rect 279 372 288 384
rect 236 312 288 320
rect 236 308 245 312
rect 279 308 288 312
rect 236 244 288 256
rect 236 180 288 192
rect 236 122 288 128
rect 322 678 374 684
rect 322 614 374 626
rect 322 550 374 562
rect 322 494 331 498
rect 365 494 374 498
rect 322 486 374 494
rect 322 422 331 434
rect 365 422 374 434
rect 322 384 374 422
rect 322 350 331 384
rect 365 350 374 384
rect 322 312 374 350
rect 322 278 331 312
rect 365 278 374 312
rect 322 240 374 278
rect 322 206 331 240
rect 365 206 374 240
rect 322 168 374 206
rect 322 134 331 168
rect 365 134 374 168
rect 322 122 374 134
rect 430 672 488 684
rect 430 638 442 672
rect 476 638 488 672
rect 430 600 488 638
rect 430 566 442 600
rect 476 566 488 600
rect 430 528 488 566
rect 430 494 442 528
rect 476 494 488 528
rect 430 456 488 494
rect 430 422 442 456
rect 476 422 488 456
rect 430 384 488 422
rect 430 350 442 384
rect 476 350 488 384
rect 430 312 488 350
rect 430 278 442 312
rect 476 278 488 312
rect 430 240 488 278
rect 430 206 442 240
rect 476 206 488 240
rect 430 168 488 206
rect 430 134 442 168
rect 476 134 488 168
rect 430 122 488 134
rect 161 54 363 66
rect 161 20 173 54
rect 207 20 245 54
rect 279 20 317 54
rect 351 20 363 54
rect 161 0 363 20
<< via1 >>
rect 150 672 202 678
rect 150 638 159 672
rect 159 638 193 672
rect 193 638 202 672
rect 150 626 202 638
rect 150 600 202 614
rect 150 566 159 600
rect 159 566 193 600
rect 193 566 202 600
rect 150 562 202 566
rect 150 528 202 550
rect 150 498 159 528
rect 159 498 193 528
rect 193 498 202 528
rect 150 456 202 486
rect 150 434 159 456
rect 159 434 193 456
rect 193 434 202 456
rect 236 350 245 372
rect 245 350 279 372
rect 279 350 288 372
rect 236 320 288 350
rect 236 278 245 308
rect 245 278 279 308
rect 279 278 288 308
rect 236 256 288 278
rect 236 240 288 244
rect 236 206 245 240
rect 245 206 279 240
rect 279 206 288 240
rect 236 192 288 206
rect 236 168 288 180
rect 236 134 245 168
rect 245 134 279 168
rect 279 134 288 168
rect 236 128 288 134
rect 322 672 374 678
rect 322 638 331 672
rect 331 638 365 672
rect 365 638 374 672
rect 322 626 374 638
rect 322 600 374 614
rect 322 566 331 600
rect 331 566 365 600
rect 365 566 374 600
rect 322 562 374 566
rect 322 528 374 550
rect 322 498 331 528
rect 331 498 365 528
rect 365 498 374 528
rect 322 456 374 486
rect 322 434 331 456
rect 331 434 365 456
rect 365 434 374 456
<< metal2 >>
rect 148 678 376 684
rect 148 626 150 678
rect 202 626 322 678
rect 374 626 376 678
rect 148 614 376 626
rect 148 562 150 614
rect 202 562 322 614
rect 374 562 376 614
rect 148 550 376 562
rect 148 498 150 550
rect 202 498 322 550
rect 374 498 376 550
rect 148 486 376 498
rect 148 434 150 486
rect 202 434 322 486
rect 374 434 376 486
rect 148 428 376 434
rect 148 372 376 378
rect 148 320 236 372
rect 288 320 376 372
rect 148 308 376 320
rect 148 256 236 308
rect 288 256 376 308
rect 148 244 376 256
rect 148 192 236 244
rect 288 192 376 244
rect 148 180 376 192
rect 148 128 236 180
rect 288 128 376 180
rect 148 122 376 128
<< labels >>
flabel metal1 s 161 0 363 66 0 FreeSans 300 0 0 0 GATE
port 3 nsew
flabel metal1 s 430 668 488 684 3 FreeSans 300 270 0 0 BULK
port 1 nsew
flabel metal1 s 161 740 363 806 0 FreeSans 300 0 0 0 GATE
port 3 nsew
flabel metal1 s 36 668 94 684 3 FreeSans 300 270 0 0 BULK
port 1 nsew
flabel metal2 s 148 122 168 378 3 FreeSans 320 0 0 0 DRAIN
flabel metal2 s 148 428 168 684 3 FreeSans 320 0 0 0 SOURCE
<< properties >>
string GDS_END 9444086
string GDS_FILE $PDKPATH/libs.ref/sky130_fd_pr/gds/sky130_fd_pr.gds
string GDS_START 9433170
<< end >>
